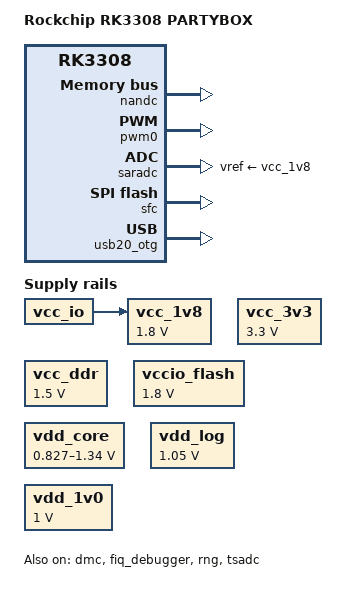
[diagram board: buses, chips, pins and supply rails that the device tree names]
// SPDX-License-Identifier: (GPL-2.0+ OR MIT)
/*
 * Copyright (c) 2024 Rockchip Electronics Co., Ltd.
 */

#include <dt-bindings/input/input.h>
#include "rk3308.dtsi"

/ {
	model = "Rockchip RK3308 PARTYBOX";
	compatible = "rockchip,rk3308-partybox", "rockchip,rk3308";

	bluetooth_sound: bluetooth-sound {
		status = "disabled";
		compatible = "rockchip,multicodecs-card";
		rockchip,card-name = "rockchip,rk3308-pcm";
		rockchip,mclk-fs = <256>;
		rockchip,cpu = <&i2s_2ch_0>;
		rockchip,codec = <&bt_codec>;
		rockchip,format = "i2s";
		rockchip,wait-card-locked = <0>;

		rockchip,frame-master = <&bt_codec>;
		rockchip,bitclock-master = <&bt_codec>;
	};

	dac_sound: dac-sound {
		status = "disabled";
		compatible = "simple-audio-card";
		simple-audio-card,name = "rockchip,rk3308-dac";
		simple-audio-card,format = "i2s";
		simple-audio-card,mclk-fs = <256>;
		simple-audio-card,bitclock-master = <&sound2_master>;
		simple-audio-card,frame-master = <&sound2_master>;
		simple-audio-card,cpu {
			sound-dai = <&i2s_8ch_0>;
		};
		sound2_master:simple-audio-card,codec {
			sound-dai = <&dummy_codec>;
		};
	};

	spdif_tx_sound: spdif-tx-sound {
		status = "disabled";
		compatible = "simple-audio-card";
		simple-audio-card,name = "rockchip,spdif-tx-sound";
		simple-audio-card,cpu {
			sound-dai = <&spdif_tx>;
		};
		simple-audio-card,codec {
			sound-dai = <&dummy_codec>;
		};
	};

	spdif_rx_sound: spdif-rx-sound {
		status = "disabled";
		compatible = "simple-audio-card";
		simple-audio-card,name = "rockchip,spdif-rx-sound";
		simple-audio-card,mclk-fs = <128>;
		simple-audio-card,cpu {
			sound-dai = <&spdif_rx>;
		};
		simple-audio-card,codec {
			sound-dai = <&spdif_dummy_codec>;
		};
	};

	bt_codec: bt-codec {
		status = "okay";
		compatible = "rockchip,dummy-codec";
		#sound-dai-cells = <0>;
	};

	dummy_codec: dummy-codec {
		status = "okay";
		compatible = "rockchip,dummy-codec";
		#sound-dai-cells = <0>;
	};

	spdif_dummy_codec: spdif-dummy-codec {
		status = "okay";
		compatible = "rockchip,dummy-codec";
		#sound-dai-cells = <0>;
	};

	vcc_3v3: vcc_io: vcc-io {
		compatible = "regulator-fixed";
		regulator-name = "vcc_io";
		regulator-always-on;
		regulator-boot-on;
		regulator-min-microvolt = <3300000>;
		regulator-max-microvolt = <3300000>;
	};

	vcc_ddr: vcc-ddr {
		compatible = "regulator-fixed";
		regulator-name = "vcc_ddr";
		regulator-always-on;
		regulator-boot-on;
		regulator-min-microvolt = <1500000>;
		regulator-max-microvolt = <1500000>;
	};

	vccio_flash: vccio-flash {
		compatible = "regulator-fixed";
		regulator-name = "vccio_flash";
		regulator-always-on;
		regulator-boot-on;
		regulator-min-microvolt = <1800000>;
		regulator-max-microvolt = <1800000>;
	};

	vdd_core: vdd-core {
		compatible = "pwm-regulator";
		pwms = <&pwm0 0 5000 1>;
		regulator-name = "vdd_core";
		regulator-min-microvolt = <827000>;
		regulator-max-microvolt = <1340000>;
		regulator-init-microvolt = <1015000>;
		regulator-always-on;
		regulator-boot-on;
		regulator-settling-time-up-us = <250>;
		status = "okay";
	};

	vdd_log: vdd-log {
		compatible = "regulator-fixed";
		regulator-name = "vdd_log";
		regulator-always-on;
		regulator-boot-on;
		regulator-min-microvolt = <1050000>;
		regulator-max-microvolt = <1050000>;
	};

	vdd_1v0: vdd-1v0 {
		compatible = "regulator-fixed";
		regulator-name = "vdd_1v0";
		regulator-always-on;
		regulator-boot-on;
		regulator-min-microvolt = <1000000>;
		regulator-max-microvolt = <1000000>;
	};

	vcc_1v8: vcc-1v8 {
		compatible = "regulator-fixed";
		regulator-name = "vcc_1v8_codec";
		regulator-always-on;
		regulator-boot-on;
		regulator-min-microvolt = <1800000>;
		regulator-max-microvolt = <1800000>;
		vin-supply = <&vcc_io>;
	};
};

&cpu0 {
	cpu-supply = <&vdd_core>;
};

&cpu0_opp_table {
	opp-408000000 {
		status = "disabled";
	};
	opp-600000000 {
		status = "disabled";
	};
	opp-1200000000 {
		status = "okay";
	};
	opp-1296000000 {
		status = "okay";
	};
};

&dmc {
	center-supply = <&vdd_log>;
	status = "okay";
};

&fiq_debugger {
	status = "okay";
};

&nandc {
	status = "okay";
};

&pwm0 {
	status = "okay";
	pinctrl-names = "active";
	pinctrl-0 = <&pwm0_pin_pull_down>;
};

&rk3308bs_cpu0_opp_table {
	opp-1008000000 {
		status = "okay";
	};
	opp-1104000000 {
		status = "okay";
	};
};

&rockchip_suspend {
	rockchip,pwm-regulator-config = <
		(0
		| RKPM_PWM_REGULATOR
		)
	>;

	status = "okay";
};

&rng {
	status = "okay";
};

&saradc {
	status = "okay";
	vref-supply = <&vcc_1v8>;
};

&sfc {
	status = "okay";
};

&spdif_tx {
	#sound-dai-cells = <0>;
};
&spdif_rx {
	#sound-dai-cells = <0>;
};

&tsadc {
	rockchip,hw-tshut-mode = <0>; /* tshut mode 0:CRU 1:GPIO */
	rockchip,hw-tshut-polarity = <1>; /* tshut polarity 0:LOW 1:HIGH */
	status = "okay";
};

&usb20_otg {
	status = "okay";
};
